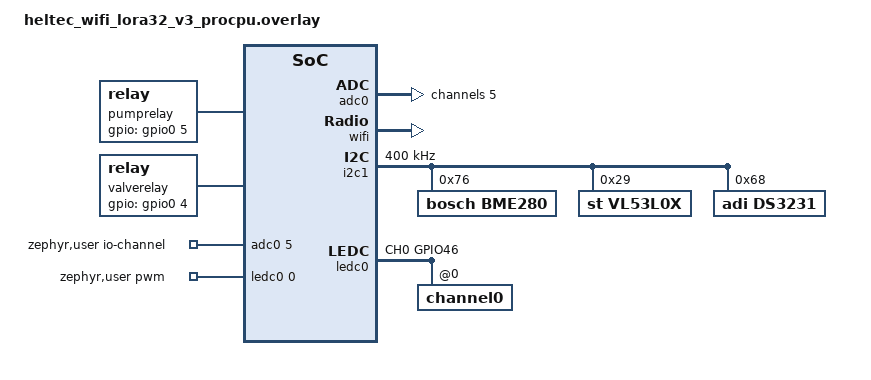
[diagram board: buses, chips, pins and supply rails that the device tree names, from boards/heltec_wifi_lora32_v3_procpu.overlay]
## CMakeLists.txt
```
cmake_minimum_required(VERSION 3.20.0)

list(APPEND BOARD_ROOT ${CMAKE_CURRENT_SOURCE_DIR})

find_package(Zephyr REQUIRED HINTS $ENV{ZEPHYR_BASE})
project(vaso_smart)

FILE(GLOB_RECURSE app_sources src/*.c)
target_sources(app PRIVATE ${app_sources})

# Add include directories for header files
target_include_directories(app PRIVATE ${CMAKE_CURRENT_SOURCE_DIR}/src)
```

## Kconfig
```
menu "MQTT configuration"

config MQTT_SUB_TOPIC
	string "MQTT subscribe topic"
	default "digital-borders/subscribe/topic1"

config MQTT_BROKER_HOSTNAME
	string "MQTT broker hostname"
	default "test.mosquitto.org"

config MQTT_BROKER_PORT
	int "MQTT broker port"
	default 1883

config MQTT_MESSAGE_BUFFER_SIZE
	int "MQTT message buffer size"
	default 512

config MQTT_PAYLOAD_BUFFER_SIZE
	int "MQTT payload buffer size"
	default 512

config MQTT_RECONNECT_WAIT_S
	int "Seconds to wait before attempting to reconnect to the broker."
	default 5

config MQTT_NET_POLL_INTERVAL_MS
	int "Polling interval in milliseconds."
	default 1000

config MQTT_PUBLISH_INTERVAL_S
	int "Seconds between MQTT publications"
	default 10

config MQTT_USERNAME
	string "The username used to login"
	default ""

config MQTT_PASSWORD
	string "The password used to login"
	default ""

config MQTT_MAXIMUM_SUBSCRIPTIONS
	int "The maximum number of subscriptions"
	default 4

config MQTT_MAXIMUM_TOPIC_NAME_LENGTH
	int "The maximum length of a topic name"
	default 128

config MQTT_MAXIMUM_TOPIC_SLICES
	int "The maximum number of topic slices"
	default 10

config SENSORS_TEMPERATURE_FREQUENCY
	int "Indicate how many milliseconds between temperature readings"
	default 10000

config SENSORS_HUMIDITY_FREQUENCY
	int "Indicate how many milliseconds between humidity readings"
	default 10000

config SENSORS_PRESSURE_FREQUENCY
	int "Indicate how many milliseconds between pressure readings"
	default 10000

config SENSORS_CO_FREQUENCY
	int "Indicate how many milliseconds between co readings"
	default 10000

config SENSORS_WATER_LEVEL_FREQUENCY
	int "Indicate how many milliseconds between co readings"
	default 10000

config CONTROLLER_FREQUENCY
	int "Indicate how many milliseconds between controller thread runs"
	default 1000

config RTC_FREQUENCY
	int "Indicate how many milliseconds between RTC updates"
	default 1000
endmenu

source "Kconfig.zephyr"
```

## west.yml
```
manifest:
  version: 0.8

  defaults:
    remote: zephyrproject
  remotes:
    - name: zephyrproject
      url-base: https://github.com/zephyrproject-rtos
  projects:
    - name: zephyr
      repo-path: zephyr
      revision: v4.0.0
      import:
        file: west.yml
        path-prefix: deps
        name-allowlist:
          - cmsis
          - hal_espressif
          - mbedtls
          - hal_st
          - tinycrypt

    - name: ds3231-driver-zephyr
      path: deps/modules/lib/ds3231-driver-zephyr
      revision: main
      url: https://github.com/digital-borders/ds3231-driver-zephyr.git

  self:
    path: app
```

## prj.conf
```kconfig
# CONFIG_ASSERT=y
CONFIG_LOG=y
# CONFIG_LOG_PRINTK=y
CONFIG_CBPRINTF_FP_SUPPORT=y
CONFIG_LOG_MODE_DEFERRED=y
CONFIG_LOG_BUFFER_SIZE=4096


CONFIG_ZBUS=y
CONFIG_ZBUS_LOG_LEVEL_INF=y
# Log channel name
CONFIG_ZBUS_CHANNEL_NAME=y


#JSON
CONFIG_JSON_LIBRARY=y

CONFIG_NVS_LOG_LEVEL_DBG=y
CONFIG_REBOOT=y
CONFIG_MPU_ALLOW_FLASH_WRITE=y


CONFIG_ADC=y
CONFIG_RTC=y
CONFIG_RTC_DS3231=y

# To generate a unique device ID
CONFIG_HWINFO=y
CONFIG_HWINFO_ESP32=y

CONFIG_POSIX_TIMERS=y

# CONFIG_COUNTER=y
# CONFIG_COUNTER_MAXIM_DS3231=y
# CONFIG_COUNTER_INIT_PRIORITY=65

# Minimal libc doesn't have strftime()
CONFIG_REQUIRES_FULL_LIBC=y

# Optional step that syncs RTC and local clock.  Don't enable this if
# your RTC has already been synchronized and you want to keep its
# setting.
# CONFIG_APP_SET_ALIGNED_CLOCK=y

# To enable clock
CONFIG_REQUIRES_FULL_LIBC=y
CONFIG_POSIX_API=y
CONFIG_SNTP=y

# BLE
# Increased stack due to settings API usage
CONFIG_SYSTEM_WORKQUEUE_STACK_SIZE=2048

CONFIG_BT=y
# This option enables support for the Security Manager Protocol (SMP), making it possible to pair devices over LE.
CONFIG_BT_SMP=y
CONFIG_BT_SIGNING=y
CONFIG_BT_PERIPHERAL=y
CONFIG_BT_ATT_PREPARE_COUNT=5
# GATT Device Information service
CONFIG_BT_DIS=y
# GATT Battery Service
CONFIG_BT_BAS=y

CONFIG_BT_PRIVACY=y
CONFIG_BT_DEVICE_NAME="Jocondo"
CONFIG_BT_DEVICE_APPEARANCE=833
CONFIG_BT_DEVICE_NAME_DYNAMIC=y
CONFIG_BT_DEVICE_NAME_MAX=65


# Chande MTU to send more bytes
# HCI ACL buffers size
# BT_L2CAP_RX_MTU = CONFIG_BT_BUF_ACL_RX_SIZE - BT_L2CAP_HDR_SIZE
CONFIG_BT_BUF_ACL_RX_SIZE=251

# L2CAP SDU/PDU TX MTU
CONFIG_BT_L2CAP_TX_MTU=247

CONFIG_BT_KEYS_OVERWRITE_OLDEST=y
# Store Bluetooth state and configuration persistently
CONFIG_BT_SETTINGS=y
CONFIG_FLASH=y
CONFIG_FLASH_MAP=y
CONFIG_NVS=y
CONFIG_SETTINGS=y


# CONFIG_RTIO_CONSUME_SEM=y
# CONFIG_SENSOR_SHELL=y
# CONFIG_SENSOR_INFO=y
# CONFIG_SENSOR_ASYNC_API=y

CONFIG_DEBUG=n # important!

# CONFIG_I2C=y
# CONFIG_I2C_LOG_LEVEL_DBG=y
# CONFIG_I2C_SHELL=y
# CONFIG_SPI=n

CONFIG_BME280=y

CONFIG_VL53L0X=y
CONFIG_VL53L0X_PROXIMITY_THRESHOLD=100


CONFIG_SENSOR=y
# CONFIG_SENSOR_LOG_LEVEL_DBG=y

# # System settings
# CONFIG_NEWLIB_LIBC=y
# CONFIG_NEWLIB_LIBC_NANO=n

CONFIG_GPIO=y
CONFIG_PWM=y

# CONFIG_GPIO_SHELL=y
# CONFIG_SHELL=y

CONFIG_WIFI=y
CONFIG_NET_L2_WIFI_MGMT=y

# Enabling logging can be helpful for debugging
# CONFIG_NET_LOG=n
# CONFIG_WIFI_LOG_LEVEL_OFF=y
# CONFIG_WIFI_LOG_LEVEL_DBG=y
# CONFIG_NET_TCP_LOG_LEVEL_DBG=y
# CONFIG_NET_BUF_LOG_LEVEL_DBG=y
# CONFIG_NET_ARP_LOG_LEVEL_DBG=y
# CONFIG_NET_CONFIG_LOG_LEVEL_DBG=y
# CONFIG_NET_CONNECTION_MANAGER_LOG_LEVEL_DBG=y
# CONFIG_NET_CONN_LOG_LEVEL_DBG=y
# CONFIG_NET_CORE_LOG_LEVEL_DBG=y
# CONFIG_NET_IPV4_AUTO_LOG_LEVEL_DBG=y
# CONFIG_NET_IPV4_LOG_LEVEL_DBG=y
# CONFIG_NET_IF_LOG_LEVEL_DBG=y
# CONFIG_NET_WEBSOCKET_LOG_LEVEL_DBG=y
# CONFIG_NET_L2_WIFI_SHELL=y
CONFIG_NETWORKING=y
CONFIG_NET_UDP=y
CONFIG_NET_TCP=y
# CONFIG_NET_SHELL=y
CONFIG_NET_IPV4=y
CONFIG_NET_IPV6=n
CONFIG_NET_NATIVE=y
CONFIG_NET_OFFLOAD=y
CONFIG_DNS_RESOLVER=y
CONFIG_DNS_RESOLVER_AI_MAX_ENTRIES=10


# Use DHCP for IPv4
CONFIG_NET_DHCPV4=y

# Following line must be enabled, otherwise WiFi connection fails with -1.
CONFIG_NET_CONFIG_SETTINGS=y
CONFIG_NET_CONFIG_INIT_TIMEOUT=1

# CONFIG_NET_CONFIG_SETTINGS=y
# CONFIG_NET_CONFIG_MY_IPV4_ADDR="192.0.2.1"
# CONFIG_NET_CONFIG_PEER_IPV4_ADDR="192.0.2.2"



# CONFIG_ENTROPY_GENERATOR=y
# CONFIG_TEST_RANDOM_GENERATOR=y


# CONFIG_NET_DHCPV4=y
# CONFIG_NET_L2_ETHERNET=y

# CONFIG_NET_TCP_WORKQ_STACK_SIZE=2048
# CONFIG_NET_RX_STACK_SIZE=2048

# Added to prevent error with missing #include <ethernet/eth_stats.h> for esp_wifi_drv.c
# Adding this line will cause CMAKE Warning: No SOURCES given to Zephyr library: drivers__ethernet
# Just ignore.
CONFIG_NET_L2_ETHERNET=y

# MQTT
CONFIG_MQTT_LIB=y
CONFIG_MQTT_CLEAN_SESSION=y
CONFIG_MQTT_LOG_LEVEL_ERR=y
CONFIG_MQTT_LOG_LEVEL_INF=y
CONFIG_MQTT_LOG_LEVEL_DBG=y

# Application
CONFIG_MQTT_SUB_TOPIC="thf/+/commands/#"
CONFIG_MQTT_BROKER_HOSTNAME="https://test.mosquitto.org/"
CONFIG_MQTT_BROKER_PORT=1883
CONFIG_MQTT_USERNAME=""
CONFIG_MQTT_PASSWORD=""
CONFIG_MQTT_PUBLISH_INTERVAL_S=10
CONFIG_MQTT_MAXIMUM_TOPIC_SLICES=10

CONFIG_DEBUG_COREDUMP=y
CONFIG_DEBUG_COREDUMP_BACKEND_LOGGING=y
CONFIG_DEBUG_COREDUMP_MEMORY_DUMP_THREADS=y
# Show thread name in coredump
CONFIG_DEBUG_THREAD_INFO=y

#CONFIG_ESP_BT_HEAP_SYSTEM=y


CONFIG_SYS_HEAP_RUNTIME_STATS=y
```

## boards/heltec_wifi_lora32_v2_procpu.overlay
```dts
/ {
    pumprelay: pumprelay {
        compatible = "relay";
        gpios = <&gpio0 14 GPIO_ACTIVE_HIGH>;
    };

	aliases {
		pumprelay = &pumprelay;
	};
};

&wifi {
    status = "okay";
};

&i2c0 {
    status = "okay";
    
    bme280: bme280@76 {
        /* 0x76 - SDO <-> GND */
		/* 0x77 - SDO <-> VCC */
        compatible = "bosch,bme280";
        reg = <0x76>;
        status = "okay";
    };
};
```

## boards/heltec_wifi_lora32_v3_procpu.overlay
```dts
/ {
    pumprelay: pumprelay {
        compatible = "relay";
        gpios = <&gpio0 5 GPIO_ACTIVE_HIGH>;  // TODO: IT SHOULD BE 4, but for testing we will use 5
    };

    valverelay: valverelay {
        compatible = "relay";
        gpios = <&gpio0 4 GPIO_ACTIVE_HIGH>;  // TODO: IT SHOULD BE 5, but for testing we will use 4
    };

    zephyr,user {
        io-channels = <&adc0 5>;
        pwms = <&ledc0 0 PWM_USEC(1500) PWM_POLARITY_NORMAL>;
    };
};

&adc0 {
    status = "okay";
    #address-cells = <1>;
    #size-cells = <0>;

    /* CO sensor */
    channel@5 {
        reg = <5>;
        zephyr,gain = "ADC_GAIN_1_4";
        zephyr,reference = "ADC_REF_INTERNAL";
        zephyr,acquisition-time = <ADC_ACQ_TIME_DEFAULT>;
        zephyr,resolution = <12>;
    };
};

&wifi {
    status = "okay";
};

&spi2 {
    status = "disabled";
};

&i2c1 {
    status = "okay";
    clock-frequency = <I2C_BITRATE_FAST>;
    pinctrl-0 = <&i2c1_default>;
    pinctrl-names = "default";

    bme280: bme280@76 {
        /* 0x76 - SDO <-> GND */
        /* 0x77 - SDO <-> VCC */
        compatible = "bosch,bme280";
        reg = <0x76>;
        status = "okay";
    };

    vl53l0x: vl53l0x@29 {
        compatible = "st,vl53l0x";
        reg = <0x29>;
        status = "okay";
    };

    ds3231: ds3231@68 {
        compatible = "adi,ds3231";
        reg = <0x68>;
        status = "okay";
    };
};

&ledc0 {
	pinctrl-0 = <&buzzer_default>;
	pinctrl-names = "default";
	status = "okay";
	#address-cells = <1>;
	#size-cells = <0>;
	channel0@0 {
		reg = <0x0>;
		timer = <0>;
	};
};

&pinctrl {
    i2c1_default: i2c1_default {
        group1 {
            pinmux = <I2C1_SDA_GPIO48>,
                     <I2C1_SCL_GPIO47>;
            bias-pull-up;
            drive-open-drain;
            output-high;
        };
    };

    buzzer_default: buzzer_default {
		group1 {
			pinmux = <LEDC_CH0_GPIO46>;
			output-enable;
		};
	};
};
```

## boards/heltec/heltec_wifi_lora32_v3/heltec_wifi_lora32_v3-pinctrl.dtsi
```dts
/*
 * Copyright (c) 2022 Espressif Systems (Shanghai) Co., Ltd.
 * Copyright (c) 2023 The Zephyr Project Contributors
 *
 * SPDX-License-Identifier: Apache-2.0
 */

#include <zephyr/dt-bindings/pinctrl/esp-pinctrl-common.h>
#include <dt-bindings/pinctrl/esp32s3-pinctrl.h>
#include <zephyr/dt-bindings/pinctrl/esp32s3-gpio-sigmap.h>

&pinctrl {
	uart0_default: uart0_default {
		group1 {
			pinmux = <UART0_TX_GPIO43>;
			output-high;
		};
		group2 {
			pinmux = <UART0_RX_GPIO44>;
			bias-pull-up;
		};
	};

	uart1_default: uart1_default {
		group1 {
			pinmux = <UART1_TX_GPIO17>;
			output-high;
		};
		group2 {
			pinmux = <UART1_RX_GPIO18>;
			bias-pull-up;
		};
	};

	i2c0_default: i2c0_default {
		group1 {
			pinmux = <I2C0_SDA_GPIO17>,
				<I2C0_SCL_GPIO18>;
			bias-pull-up;
			drive-open-drain;
			output-high;
		};
	};

	spim2_default: spim2_default {
		group1 {
			pinmux = <SPIM2_MISO_GPIO11>,
				<SPIM2_SCLK_GPIO9>,
				<SPIM2_CSEL_GPIO8>;
		};
		group2 {
			pinmux = <SPIM2_MOSI_GPIO10>;
			output-low;
		};
	};

	twai_default: twai_default {
		group1 {
			pinmux = <TWAI_TX_GPIO5>,
				<TWAI_RX_GPIO6>;
		};
	};

	ledc0_default: ledc0_default {
		group1 {
			pinmux = <LEDC_CH0_GPIO35>;
			output-enable;
		};
	};
};
```

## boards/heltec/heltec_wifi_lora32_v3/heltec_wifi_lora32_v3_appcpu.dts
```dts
/*
 * Copyright (c) 2023 Espressif Systems (Shanghai) Co., Ltd.
 *
 * SPDX-License-Identifier: Apache-2.0
 */
/dts-v1/;

#include <espressif/esp32s3/esp32s3_appcpu.dtsi>
/ {
	model = "Heltec Wi-Fi Lora32 V2 APPCPU";
	compatible = "espressif,esp32s3";

	chosen {
		zephyr,sram = &sram0;
		zephyr,ipc_shm = &shm0;
		zephyr,ipc = &ipm0;
	};
};

&trng0 {
	status = "okay";
};

&ipm0 {
	status = "okay";
};

&flash0 {
	status = "okay";
	partitions {
		compatible = "fixed-partitions";
		#address-cells = <1>;
		#size-cells = <1>;

		/* Reserve 64kB for the bootloader */
		boot_partition: partition@0 {
			label = "mcuboot";
			reg = <0x00000000 0x00010000>;
			read-only;
		};

		/* Reserve 1024kB for the application in slot 0 */
		slot0_partition: partition@10000 {
			label = "image-0";
			reg = <0x00010000 0x00100000>;
		};

		/* Reserve 1024kB for the application in slot 1 */
		slot1_partition: partition@110000 {
			label = "image-1";
			reg = <0x00110000 0x00100000>;
		};

		/* Reserve 256kB for the scratch partition */
		scratch_partition: partition@210000 {
			   label = "image-scratch";
			   reg = <0x00210000 0x00040000>;
		};

		storage_partition: partition@250000 {
			label = "storage";
			reg = <0x00250000 0x00006000>;
		};
	};
};
```

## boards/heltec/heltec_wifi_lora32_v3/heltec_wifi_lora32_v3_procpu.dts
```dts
/*
 * Copyright (c) 2021 Instituto de Pesquisas Eldorado (eldorado.org.br)
 * Copyright (c) 2022 Espressif Systems (Shanghai) Co., Ltd.
 * Copyright (c) 2023 The Zephyr Project Contributors
 *
 * SPDX-License-Identifier: Apache-2.0
 */
/dts-v1/;

#include <espressif/esp32s3/esp32s3_fn8.dtsi>
#include "heltec_wifi_lora32_v3-pinctrl.dtsi"
#include <zephyr/dt-bindings/pwm/pwm.h>
#include <zephyr/dt-bindings/input/input-event-codes.h>
#include <zephyr/dt-bindings/lora/sx126x.h>

/ {
	model = "Heltec Wi-Fi Lora32 V3 PROCPU";
	compatible = "espressif,esp32s3";

	aliases {
		pwm-0 = &ledc0;
		pwm-led0 = &pwm_led_white;
		uart-0 = &uart0;
		uart-1 = &uart1;
		i2c-0 = &i2c0;
		lora0 = &lora0;
		sw0 = &button0;
		watchdog0 = &wdt0;
	};

	leds {
		compatible = "gpio-leds";

		vext: vext {
			gpios = <&gpio0 36 (GPIO_PULL_UP | GPIO_ACTIVE_LOW)>;
			label = "Vext Control";
		};

		adc: adc {
			gpios = <&gpio0 37 GPIO_ACTIVE_LOW>;
			label = "ADC Control";
		};
		
		oledrst: oledrst {
			gpios = <&gpio0 21 (GPIO_PULL_UP | GPIO_ACTIVE_HIGH)>;
			label = "OLED Reset";
		};
	};

	pwmleds {
		compatible = "pwm-leds";
		pwm_led_white: pwm_led_gpio0_35 {
			label = "White PWM LED";
			pwms = <&ledc0 0 PWM_MSEC(10) PWM_POLARITY_NORMAL>;
		};
	};

	buttons {
		compatible = "gpio-keys";
		button0: button_0 {
			gpios = <&gpio0 0 (GPIO_PULL_UP | GPIO_ACTIVE_LOW)>;
			label = "USER SW";
			zephyr,code = <INPUT_KEY_0>;
		};
	};

	vbatt {
		compatible = "voltage-divider";
		io-channels = <&adc1 0>;
		output-ohms = <100000>;
		full-ohms = <(100000 + 390000)>;
	};

	chosen {
		zephyr,sram = &sram0;
		zephyr,console = &uart0;
		zephyr,shell-uart = &uart0;
		zephyr,flash = &flash0;
		zephyr,code-partition = &slot0_partition;
		zephyr,bt-hci = &esp32_bt_hci;
	};
};

&adc1 {
	status ="okay";
};

&uart0 {
	status = "okay";
	current-speed = <115200>;
	pinctrl-0 = <&uart0_default>;
	pinctrl-names = "default";
};

&gpio0 {
	status = "okay";
};

&gpio1 {
	status = "okay";
};

&ledc0 {
	pinctrl-0 = <&ledc0_default>;
	pinctrl-names = "default";
	status = "okay";
	#address-cells = <1>;
	#size-cells = <0>;
	channel0@0 {
		reg = <0x0>;
		timer = <0>;
	};
};

&i2c0 {
	status = "okay";
	clock-frequency = <I2C_BITRATE_FAST>;
	pinctrl-0 = <&i2c0_default>;
	pinctrl-names = "default";
};


&spi2 {
	#address-cells = <1>;
	#size-cells = <0>;
	status = "okay";
	pinctrl-0 = <&spim2_default>;
	pinctrl-names = "default";
	lora0: lora@0 {
		compatible = "semtech,sx1262";
		reg = <0>;
		reset-gpios = <&gpio0 12 (GPIO_OPEN_DRAIN | GPIO_ACTIVE_LOW)>;
		busy-gpios = <&gpio0 13 GPIO_ACTIVE_HIGH>;
		dio1-gpios = <&gpio0 14 GPIO_ACTIVE_HIGH>;
		dio2-tx-enable;
		dio3-tcxo-voltage = <SX126X_DIO3_TCXO_1V8>;
		tcxo-power-startup-delay-ms = <5>;
		spi-max-frequency = <4000000>;
	};
};

&twai {
	pinctrl-0 = <&twai_default>;
	pinctrl-names = "default";
};

&timer0 {
	status = "okay";
};

&timer1 {
	status = "okay";
};

&timer2 {
	status = "okay";
};

&timer3 {
	status = "okay";
};

&wdt0 {
	status = "okay";
};

&trng0 {
	status = "okay";
};

&uart1 {
	status = "okay";
	current-speed = <115200>;
	pinctrl-0 = <&uart1_default>;
	pinctrl-names = "default";
};

&flash0 {
	status = "okay";
	partitions {
		compatible = "fixed-partitions";
		#address-cells = <1>;
		#size-cells = <1>;

		/* Reserve 64kB for the bootloader */
		boot_partition: partition@0 {
			label = "mcuboot";
			reg = <0x00000000 0x00010000>;
			read-only;
		};

		/* Reserve 1024kB for the application in slot 0 */
		slot0_partition: partition@10000 {
			label = "image-0";
			reg = <0x00010000 0x00100000>;
		};

		/* Reserve 1024kB for the application in slot 1 */
		slot1_partition: partition@110000 {
			label = "image-1";
			reg = <0x00110000 0x00100000>;
		};

		/* Reserve 256kB for the scratch partition */
		scratch_partition: partition@210000 {
			   label = "image-scratch";
			   reg = <0x00210000 0x00040000>;
		};

		storage_partition: partition@250000 {
			label = "storage";
			reg = <0x00250000 0x00006000>;
		};
	};
};

&esp32_bt_hci {
	status = "okay";
};

/* Required by the ssd1306_128x64 shield which enables the OLED display */
arduino_i2c: &i2c0 {};
```

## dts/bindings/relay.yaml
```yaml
description: GPIO pin to switch a relay on or off

compatible: "relay"

properties:
  gpios:
    type: phandle-array
    required: true
    description: |
      The GPIO connected to the relay driving transistor.
```

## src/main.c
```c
#include <zephyr/logging/log.h>
LOG_MODULE_REGISTER(MAIN, LOG_LEVEL_DBG);

#include <zephyr/kernel.h>

int main(void)
{
	LOG_INF("Starting main!");

	k_sleep(K_SECONDS(5));
}
```
